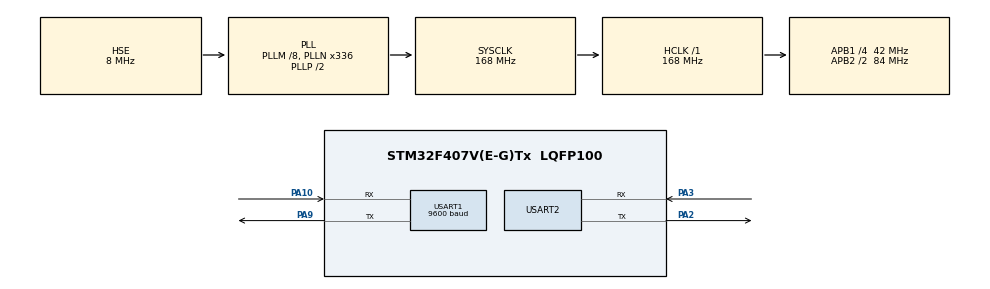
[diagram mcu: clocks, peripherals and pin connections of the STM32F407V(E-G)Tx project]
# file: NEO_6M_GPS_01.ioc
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Mcu.Family=STM32F4
Mcu.Name=STM32F407V(E-G)Tx
Mcu.Package=LQFP100
NVIC.PriorityGroup=NVIC_PRIORITYGROUP_0
NVIC.USART1_IRQn=true\:0\:0\:false\:false\:true\:true\:true\:true
PA10.Mode=Asynchronous
PA10.Signal=USART1_RX
PA13.Mode=Serial_Wire
PA13.Signal=SYS_JTMS-SWDIO
PA14.Mode=Serial_Wire
PA14.Signal=SYS_JTCK-SWCLK
PA2.Mode=Asynchronous
PA2.Signal=USART2_TX
PA3.Mode=Asynchronous
PA3.Signal=USART2_RX
PA9.Mode=Asynchronous
PA9.Signal=USART1_TX
PH0-OSC_IN.Mode=HSE-External-Oscillator
PH0-OSC_IN.Signal=RCC_OSC_IN
PH1-OSC_OUT.Mode=HSE-External-Oscillator
PH1-OSC_OUT.Signal=RCC_OSC_OUT
ProjectManager.HeapSize=0x200
ProjectManager.StackSize=0x400
ProjectManager.TargetToolchain=STM32CubeIDE
RCC.48MHZClocksFreq_Value=48000000
RCC.AHBFreq_Value=168000000
RCC.APB1CLKDivider=RCC_HCLK_DIV4
RCC.APB1Freq_Value=42000000
RCC.APB1TimFreq_Value=84000000
RCC.APB2CLKDivider=RCC_HCLK_DIV2
RCC.APB2Freq_Value=84000000
RCC.APB2TimFreq_Value=168000000
RCC.CortexFreq_Value=168000000
RCC.HCLKFreq_Value=168000000
RCC.HSE_VALUE=8000000
RCC.HSI_VALUE=16000000
RCC.PLLM=8
RCC.PLLN=336
RCC.PLLQ=7
RCC.PLLSourceVirtual=RCC_PLLSOURCE_HSE
RCC.SYSCLKFreq_VALUE=168000000
RCC.SYSCLKSource=RCC_SYSCLKSOURCE_PLLCLK
RCC.VCOOutputFreq_Value=336000000
USART1.BaudRate=9600
USART1.VirtualMode=VM_ASYNC
USART2.VirtualMode=VM_ASYNC
board=STM32F407G-DISC1

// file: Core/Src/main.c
/* USER CODE BEGIN Header */
/**
  ******************************************************************************
  * @file           : main.c
  * @brief          : Main program body
  ******************************************************************************
  * @attention
  *
  * Copyright (c) 2022 STMicroelectronics.
  * All rights reserved.
  *
  * This software is licensed under terms that can be found in the LICENSE file
  * in the root directory of this software component.
  * If no LICENSE file comes with this software, it is provided AS-IS.
  *
  ******************************************************************************
  */
/* USER CODE END Header */
#include "main.h"

/* USER CODE BEGIN Includes */
#include "lwgps/lwgps.h"
/* USER CODE END Includes */

/* USER CODE BEGIN PTD */
lwgps_t gps;
uint8_t RxBuffer[128];
uint8_t Rxindex = 0;
uint8_t RxData =0;

/* USER CODE END PTD */

UART_HandleTypeDef huart1;
UART_HandleTypeDef huart2;

void SystemClock_Config(void);
static void MX_GPIO_Init(void);
static void MX_USART1_UART_Init(void);
static void MX_USART2_UART_Init(void);

/* USER CODE BEGIN 0 */

void HAL_UART_RxCpltCallback(UART_HandleTypeDef *huart)
{
	if(huart == &huart1) {
		if(RxData != '\n' && Rxindex < sizeof(RxBuffer)) {
			RxBuffer[Rxindex++] = RxData;
		} else {
			lwgps_process(&gps, RxBuffer, Rxindex+1);
			Rxindex  = 0;
			RxData = 0;
		}
		HAL_UART_Receive_IT(&huart1, &RxData, 1);
	}
}
/* USER CODE END 0 */

int main(void)
{

  /* MCU Configuration--------------------------------------------------------*/

  /* Reset of all peripherals, Initializes the Flash interface and the Systick. */
  HAL_Init();

  /* Configure the system clock */
  SystemClock_Config();

  /* Initialize all configured peripherals */
  MX_GPIO_Init();
  MX_USART1_UART_Init();
  MX_USART2_UART_Init();
  /* USER CODE BEGIN 2 */
  lwgps_init(&gps);
  HAL_UART_Receive_IT(&huart1, &RxData, 1);

  /* USER CODE END 2 */

  /* Infinite loop */
  while (1)
  {

  }
}

void SystemClock_Config(void)
{
  RCC_OscInitTypeDef RCC_OscInitStruct = {0};
  RCC_ClkInitTypeDef RCC_ClkInitStruct = {0};

  /** Configure the main internal regulator output voltage
  */
  __HAL_RCC_PWR_CLK_ENABLE();
  __HAL_PWR_VOLTAGESCALING_CONFIG(PWR_REGULATOR_VOLTAGE_SCALE1);

  /** Initializes the RCC Oscillators according to the specified parameters
  * in the RCC_OscInitTypeDef structure.
  */
  RCC_OscInitStruct.OscillatorType = RCC_OSCILLATORTYPE_HSE;
  RCC_OscInitStruct.HSEState = RCC_HSE_ON;
  RCC_OscInitStruct.PLL.PLLState = RCC_PLL_ON;
  RCC_OscInitStruct.PLL.PLLSource = RCC_PLLSOURCE_HSE;
  RCC_OscInitStruct.PLL.PLLM = 8;
  RCC_OscInitStruct.PLL.PLLN = 336;
  RCC_OscInitStruct.PLL.PLLP = RCC_PLLP_DIV2;
  RCC_OscInitStruct.PLL.PLLQ = 7;
  if (HAL_RCC_OscConfig(&RCC_OscInitStruct) != HAL_OK)
  {
    Error_Handler();
  }

  /** Initializes the CPU, AHB and APB buses clocks
  */
  RCC_ClkInitStruct.ClockType = RCC_CLOCKTYPE_HCLK|RCC_CLOCKTYPE_SYSCLK
                              |RCC_CLOCKTYPE_PCLK1|RCC_CLOCKTYPE_PCLK2;
  RCC_ClkInitStruct.SYSCLKSource = RCC_SYSCLKSOURCE_PLLCLK;
  RCC_ClkInitStruct.AHBCLKDivider = RCC_SYSCLK_DIV1;
  RCC_ClkInitStruct.APB1CLKDivider = RCC_HCLK_DIV4;
  RCC_ClkInitStruct.APB2CLKDivider = RCC_HCLK_DIV2;

  if (HAL_RCC_ClockConfig(&RCC_ClkInitStruct, FLASH_LATENCY_5) != HAL_OK)
  {
    Error_Handler();
  }
}

static void MX_USART1_UART_Init(void)
{

  huart1.Instance = USART1;
  huart1.Init.BaudRate = 9600;
  huart1.Init.WordLength = UART_WORDLENGTH_8B;
  huart1.Init.StopBits = UART_STOPBITS_1;
  huart1.Init.Parity = UART_PARITY_NONE;
  huart1.Init.Mode = UART_MODE_TX_RX;
  huart1.Init.HwFlowCtl = UART_HWCONTROL_NONE;
  huart1.Init.OverSampling = UART_OVERSAMPLING_16;
  if (HAL_UART_Init(&huart1) != HAL_OK)
  {
    Error_Handler();
  }

}

static void MX_USART2_UART_Init(void)
{

  huart2.Instance = USART2;
  huart2.Init.BaudRate = 115200;
  huart2.Init.WordLength = UART_WORDLENGTH_8B;
  huart2.Init.StopBits = UART_STOPBITS_1;
  huart2.Init.Parity = UART_PARITY_NONE;
  huart2.Init.Mode = UART_MODE_TX_RX;
  huart2.Init.HwFlowCtl = UART_HWCONTROL_NONE;
  huart2.Init.OverSampling = UART_OVERSAMPLING_16;
  if (HAL_UART_Init(&huart2) != HAL_OK)
  {
    Error_Handler();
  }

}

static void MX_GPIO_Init(void)
{

  /* GPIO Ports Clock Enable */
  __HAL_RCC_GPIOH_CLK_ENABLE();
  __HAL_RCC_GPIOA_CLK_ENABLE();

}

void Error_Handler(void)
{
  __disable_irq();
  while (1)
  {
  }
}
